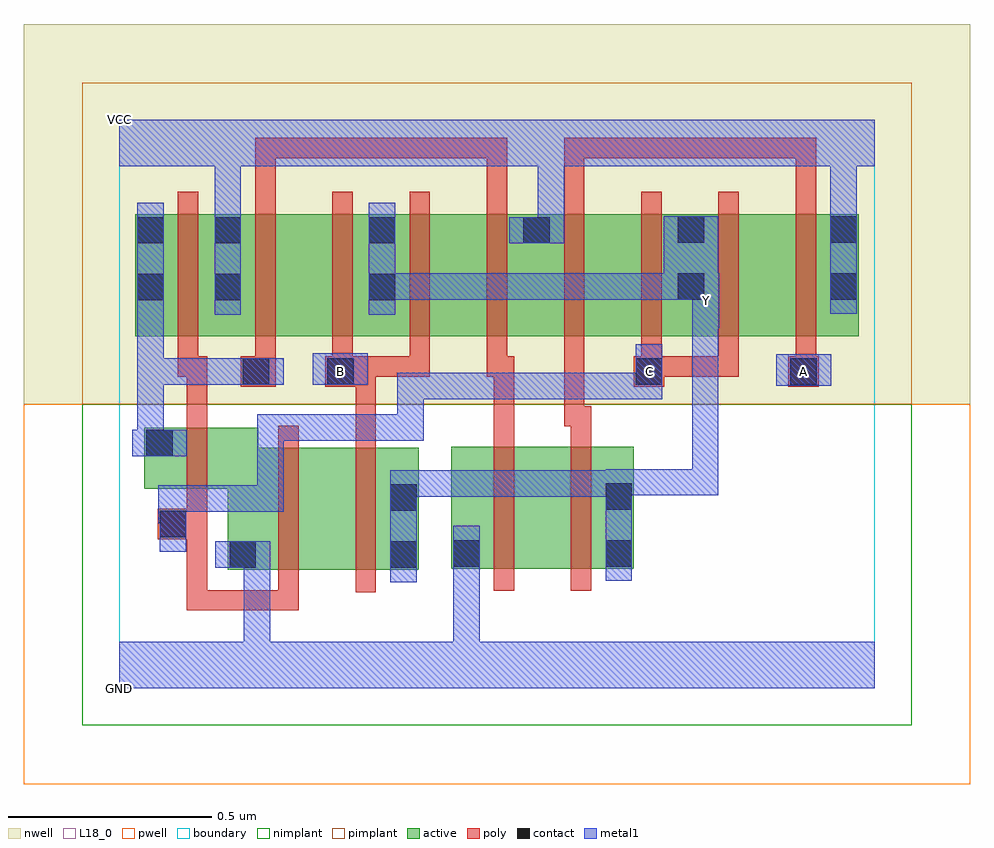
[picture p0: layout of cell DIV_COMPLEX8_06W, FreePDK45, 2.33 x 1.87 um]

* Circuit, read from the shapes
.subckt DIV_COMPLEX8_06W A B C GND VCC Y
M1 GND C n1 VSUBS nfet w=0.15u l=0.05u
M2 n2 C GND VSUBS nfet w=0.3u l=0.05u
M3 Y B n2 VSUBS nfet w=0.3u l=0.05u
M4 n3 n1 GND VSUBS nfet w=0.3u l=0.05u
M5 Y A n3 VSUBS nfet w=0.3u l=0.05u
M6 VCC C n1 n4 pfet w=0.3u l=0.05u
M7 n5 n1 VCC n4 pfet w=0.3u l=0.05u
M8 Y B n5 n4 pfet w=0.3u l=0.05u
M9 n6 B Y n4 pfet w=0.3u l=0.05u
M10 VCC n1 n6 n4 pfet w=0.3u l=0.05u
M11 n7 A VCC n4 pfet w=0.3u l=0.05u
M12 Y C n7 n4 pfet w=0.3u l=0.05u
M13 n8 C Y n4 pfet w=0.3u l=0.05u
M14 VCC A n8 n4 pfet w=0.3u l=0.05u
.ends

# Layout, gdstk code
import gdstk
lib = gdstk.Library(unit=1e-6, precision=1e-09)
def R(c, l, rs):  # rectangles x0, y0, x1, y1
    for r in rs: c.add(gdstk.rectangle(r[:2], r[2:], *l))
def A(c, l, x, y, w, h, nx, ny, dx, dy):  # array of equal rectangles
    R(c, l, [(x+i*dx, y+j*dy, x+i*dx+w, y+j*dy+h) for i in range(nx) for j in range(ny)])
active = (1, 0)
pwell = (2, 0)
nwell = (3, 0)
nimplant = (4, 0)
pimplant = (5, 0)
poly = (9, 0)
contact = (10, 0)
metal1 = (11, 0)
L18_0 = (18, 0)
boundary = (235, 0)

div_complex8_06w = lib.new_cell('DIV_COMPLEX8_06W')
A(div_complex8_06w, active, 0.23, 0.867, 0.075, 0.3, 4, 1, 0.38, 0)
A(div_complex8_06w, active, 0.23, 0.867, 0.225, 0.3, 4, 1, 0.38, 0)
A(div_complex8_06w, active, 0.455, 0.867, 0.23, 0.3, 3, 1, 0.38, 0)
R(div_complex8_06w, active, [(0.267,0.292,0.512,0.592), (0.267,0.292,0.342,0.55), (0.512,0.292,0.737,0.592), (0.662,0.292,0.737,0.592), (0.817,0.295,0.892,0.595), (0.817,0.295,1.042,0.595), (1.042,0.295,1.267,0.595), (1.192,0.295,1.267,0.595), (0.062,0.492,0.342,0.642), (0.062,0.495,0.137,0.642), (0.04,0.867,0.305,1.167), (0.04,0.867,0.115,1.165), (1.595,0.867,1.82,1.167), (1.745,0.867,1.82,1.167)])
R(div_complex8_06w, pwell, [(-0.235,-0.235,2.095,0.7)])
R(div_complex8_06w, nwell, [(-0.235,0.7,2.095,1.635)])
R(div_complex8_06w, nimplant, [(-0.09,-0.09,1.95,0.7)])
R(div_complex8_06w, pimplant, [(-0.09,0.7,1.95,1.49)])
A(div_complex8_06w, poly, 0.145, 0.767, 0.05, 0.095, 5, 1, 0.19, 0)
A(div_complex8_06w, poly, 1.285, 0.767, 0.05, 0.095, 3, 1, 0.19, 0)
A(div_complex8_06w, poly, 0.145, 0.812, 0.05, 0.41, 9, 1, 0.19, 0)
A(div_complex8_06w, poly, 0.715, 1.305, 0.05, 0.05, 3, 1, 0.19, 0)
R(div_complex8_06w, poly, [(0.167,0.192,0.217,0.242), (0.167,0.192,0.217,0.242), (0.167,0.192,0.217,0.242), (0.167,0.192,0.442,0.242), (0.167,0.192,0.217,0.417), (0.392,0.192,0.442,0.242), (0.392,0.192,0.442,0.287), (0.392,0.237,0.442,0.647), (0.582,0.237,0.632,0.647), (0.922,0.24,0.972,0.65), (1.112,0.24,1.162,0.65), (0.095,0.367,0.217,0.442), (0.167,0.392,0.217,0.487), (0.167,0.437,0.217,0.697), (0.582,0.597,0.632,0.792), (0.922,0.6,0.972,0.817), (1.112,0.6,1.162,0.695), (1.095,0.645,1.145,0.862), (1.095,0.645,1.162,0.695), (0.167,0.647,0.217,0.817), (0.3,0.742,0.385,0.817), (0.507,0.742,0.632,0.817), (1.267,0.742,1.342,0.817), (1.647,0.742,1.722,0.817), (0.145,0.767,0.217,0.817), (0.582,0.767,0.632,0.817), (0.582,0.767,0.632,0.817), (0.582,0.767,0.765,0.817), (0.715,0.767,0.765,0.817), (0.905,0.767,0.972,0.817), (1.292,0.767,1.525,0.817), (1.475,0.767,1.525,0.817), (1.475,0.767,1.525,0.817), (1.475,0.767,1.525,0.817), (0.335,1.172,0.385,1.355), (0.905,1.172,0.955,1.355), (1.095,1.172,1.145,1.355), (1.665,1.172,1.715,1.355), (0.335,1.305,0.385,1.355), (0.335,1.305,0.385,1.355), (0.335,1.305,0.385,1.355), (0.335,1.305,0.632,1.355), (0.582,1.305,0.632,1.355), (0.582,1.305,0.632,1.355), (0.582,1.305,0.632,1.355), (0.582,1.305,0.765,1.355), (0.715,1.305,0.765,1.355), (0.715,1.305,0.765,1.355), (0.715,1.305,0.955,1.355), (1.095,1.305,1.145,1.355), (1.095,1.305,1.145,1.355), (1.095,1.305,1.277,1.355), (1.227,1.305,1.277,1.355), (1.227,1.305,1.475,1.355), (1.425,1.305,1.475,1.355), (1.425,1.305,1.475,1.355), (1.425,1.305,1.475,1.355), (1.425,1.305,1.715,1.355), (1.665,1.305,1.715,1.355), (1.665,1.305,1.715,1.355), (1.665,1.305,1.715,1.355)])
A(div_complex8_06w, contact, 0.235, 1.095, 0.065, 0.065, 3, 1, 0.38, 0)
R(div_complex8_06w, contact, [(0.272,0.297,0.337,0.362), (0.667,0.297,0.732,0.362), (0.822,0.3,0.887,0.365), (1.197,0.3,1.262,0.365), (0.1,0.372,0.165,0.437), (0.667,0.437,0.732,0.502), (1.197,0.44,1.262,0.505), (0.067,0.572,0.132,0.637), (0.305,0.747,0.37,0.812), (0.512,0.747,0.577,0.812), (1.272,0.747,1.337,0.812), (1.652,0.747,1.717,0.812), (0.045,0.955,0.11,1.02), (0.235,0.955,0.3,1.02), (0.615,0.955,0.68,1.02), (1.375,0.957,1.44,1.022), (1.75,0.957,1.815,1.022), (0.045,1.095,0.11,1.16), (1.375,1.097,1.44,1.162), (1.75,1.097,1.815,1.162)])
R(div_complex8_06w, metal1, [(0,0,1.86,0.115), (0.307,0.05,0.372,0.115), (0.307,0.05,0.372,0.115), (0.307,0.05,0.372,0.362), (0.822,0.05,0.887,0.115), (0.822,0.05,0.887,0.115), (0.822,0.05,0.887,0.115), (0.822,0.05,0.887,0.115), (0.822,0.05,0.887,0.33), (0.667,0.262,0.732,0.537), (0.822,0.265,0.887,0.4), (1.197,0.265,1.262,0.54), (0.237,0.297,0.372,0.362), (0.307,0.297,0.372,0.362), (0.307,0.297,0.372,0.362), (0.1,0.337,0.165,0.472), (0.097,0.407,0.162,0.472), (0.097,0.407,0.165,0.472), (0.097,0.407,0.162,0.5), (0.097,0.435,0.162,0.5), (0.097,0.435,0.162,0.5), (0.097,0.435,0.162,0.5), (0.097,0.435,0.405,0.5), (0.34,0.435,0.405,0.5), (0.34,0.435,0.405,0.675), (0.667,0.472,0.887,0.537), (0.822,0.472,0.887,0.537), (0.822,0.472,0.887,0.537), (0.822,0.472,0.887,0.537), (0.822,0.472,0.887,0.537), (0.822,0.472,0.887,0.537), (0.822,0.472,1.025,0.537), (0.96,0.472,1.025,0.537), (0.96,0.472,1.125,0.537), (1.06,0.472,1.125,0.537), (1.06,0.472,1.2,0.537), (1.135,0.472,1.2,0.537), (1.135,0.472,1.262,0.537), (1.197,0.475,1.475,0.54), (1.41,0.475,1.475,0.54), (1.41,0.475,1.475,0.54), (1.41,0.475,1.475,0.54), (1.41,0.475,1.475,0.952), (0.032,0.572,0.167,0.637), (0.045,0.572,0.11,0.812), (0.34,0.61,0.405,0.675), (0.34,0.61,0.405,0.675), (0.34,0.61,0.405,0.675), (0.34,0.61,0.542,0.675), (0.477,0.61,0.542,0.675), (0.477,0.61,0.542,0.675), (0.477,0.61,0.542,0.675), (0.477,0.61,0.75,0.675), (0.685,0.61,0.75,0.675), (0.685,0.61,0.75,0.777), (0.685,0.712,0.75,0.777), (0.685,0.712,0.75,0.777), (0.685,0.712,0.75,0.777), (0.685,0.712,0.887,0.777), (0.822,0.712,0.887,0.777), (0.822,0.712,1.062,0.777), (0.997,0.712,1.062,0.777), (0.997,0.712,1.062,0.777), (0.997,0.712,1.062,0.777), (0.997,0.712,1.2,0.777), (1.135,0.712,1.2,0.777), (1.135,0.712,1.262,0.777), (1.197,0.712,1.262,0.777), (1.197,0.712,1.337,0.777), (1.272,0.712,1.337,0.847), (1.617,0.745,1.752,0.822), (0.045,0.747,0.11,0.812), (0.045,0.747,0.11,0.812), (0.045,0.747,0.11,0.812), (0.045,0.747,0.335,0.812), (0.045,0.747,0.11,0.985), (0.27,0.747,0.335,0.812), (0.27,0.747,0.335,0.812), (0.27,0.747,0.405,0.812), (0.477,0.747,0.612,0.825), (1.41,0.887,1.477,1.022), (0.045,0.92,0.11,1.195), (0.235,0.92,0.3,1.195), (0.615,0.92,0.68,1.195), (1.75,0.922,1.815,1.197), (0.615,0.957,0.887,1.022), (0.822,0.957,0.887,1.022), (0.822,0.957,0.887,1.022), (0.822,0.957,0.887,1.022), (0.822,0.957,1.025,1.022), (0.96,0.957,1.025,1.022), (0.96,0.957,1.025,1.022), (0.96,0.957,1.025,1.022), (0.96,0.957,1.2,1.022), (1.135,0.957,1.2,1.022), (1.135,0.957,1.262,1.022), (1.197,0.957,1.262,1.022), (1.197,0.957,1.405,1.022), (1.34,0.957,1.405,1.022), (1.34,0.957,1.405,1.022), (1.34,0.957,1.475,1.162), (1.41,0.957,1.475,1.022), (0.96,1.095,1.095,1.16), (1.03,1.095,1.095,1.16), (1.03,1.095,1.095,1.16), (1.03,1.095,1.095,1.35), (0.235,1.13,0.3,1.195), (0.235,1.13,0.3,1.195), (0.235,1.13,0.3,1.35), (1.75,1.132,1.815,1.197), (1.75,1.132,1.815,1.197), (1.75,1.132,1.815,1.35), (0,1.285,1.86,1.4)])
R(div_complex8_06w, L18_0, [(0,0,1.86,0.115), (0.307,0.05,0.372,0.115), (0.307,0.05,0.372,0.115), (0.307,0.05,0.372,0.362), (0.822,0.05,0.887,0.115), (0.822,0.05,0.887,0.115), (0.822,0.05,0.887,0.115), (0.822,0.05,0.887,0.115), (0.822,0.05,0.887,0.33), (0.667,0.262,0.732,0.537), (0.822,0.265,0.887,0.4), (1.197,0.265,1.262,0.54), (0.237,0.297,0.372,0.362), (0.307,0.297,0.372,0.362), (0.307,0.297,0.372,0.362), (0.1,0.337,0.165,0.472), (0.097,0.407,0.162,0.472), (0.097,0.407,0.162,0.5), (0.097,0.407,0.165,0.472), (0.097,0.435,0.162,0.5), (0.097,0.435,0.162,0.5), (0.097,0.435,0.162,0.5), (0.097,0.435,0.405,0.5), (0.34,0.435,0.405,0.5), (0.34,0.435,0.405,0.675), (0.667,0.472,0.887,0.537), (0.822,0.472,0.887,0.537), (0.822,0.472,0.887,0.537), (0.822,0.472,0.887,0.537), (0.822,0.472,0.887,0.537), (0.822,0.472,0.887,0.537), (0.822,0.472,1.025,0.537), (0.96,0.472,1.025,0.537), (0.96,0.472,1.125,0.537), (1.06,0.472,1.125,0.537), (1.06,0.472,1.2,0.537), (1.135,0.472,1.2,0.537), (1.135,0.472,1.262,0.537), (1.197,0.475,1.475,0.54), (1.41,0.475,1.475,0.54), (1.41,0.475,1.475,0.54), (1.41,0.475,1.475,0.54), (1.41,0.475,1.475,0.952), (0.34,0.61,0.405,0.675), (0.34,0.61,0.405,0.675), (0.34,0.61,0.405,0.675), (0.34,0.61,0.542,0.675), (0.477,0.61,0.542,0.675), (0.477,0.61,0.542,0.675), (0.477,0.61,0.542,0.675), (0.477,0.61,0.75,0.675), (0.685,0.61,0.75,0.675), (0.685,0.61,0.75,0.777), (0.685,0.712,0.75,0.777), (0.685,0.712,0.75,0.777), (0.685,0.712,0.75,0.777), (0.685,0.712,0.887,0.777), (0.822,0.712,0.887,0.777), (0.822,0.712,1.062,0.777), (0.997,0.712,1.062,0.777), (0.997,0.712,1.062,0.777), (0.997,0.712,1.062,0.777), (0.997,0.712,1.2,0.777), (1.135,0.712,1.2,0.777), (1.135,0.712,1.262,0.777), (1.197,0.712,1.262,0.777), (1.197,0.712,1.337,0.777), (1.272,0.712,1.337,0.847), (1.617,0.745,1.752,0.822), (0.477,0.747,0.612,0.825), (0.512,0.747,0.577,0.812), (1.272,0.747,1.337,0.812), (1.652,0.747,1.717,0.812), (1.41,0.887,1.477,1.022), (0.235,0.92,0.3,1.195), (0.615,0.92,0.68,1.195), (1.412,0.922,1.477,0.987), (1.75,0.922,1.815,1.197), (0.615,0.957,0.887,1.022), (0.822,0.957,0.887,1.022), (0.822,0.957,0.887,1.022), (0.822,0.957,0.887,1.022), (0.822,0.957,1.025,1.022), (0.96,0.957,1.025,1.022), (0.96,0.957,1.025,1.022), (0.96,0.957,1.025,1.022), (0.96,0.957,1.2,1.022), (1.135,0.957,1.2,1.022), (1.135,0.957,1.262,1.022), (1.197,0.957,1.262,1.022), (1.197,0.957,1.405,1.022), (1.34,0.957,1.405,1.022), (1.34,0.957,1.405,1.022), (1.34,0.957,1.475,1.162), (1.41,0.957,1.475,1.022), (0.96,1.095,1.095,1.16), (1.03,1.095,1.095,1.16), (1.03,1.095,1.095,1.16), (1.03,1.095,1.095,1.35), (0.235,1.13,0.3,1.195), (0.235,1.13,0.3,1.195), (0.235,1.13,0.3,1.35), (1.75,1.132,1.815,1.197), (1.75,1.132,1.815,1.197), (1.75,1.132,1.815,1.35), (0,1.285,1.86,1.4)])
R(div_complex8_06w, boundary, [(0,0,1.86,1.4)])
div_complex8_06w.add(gdstk.Label('A', (1.685,0.78), layer=11, texttype=0))
div_complex8_06w.add(gdstk.Label('B', (0.545,0.78), layer=11, texttype=0))
div_complex8_06w.add(gdstk.Label('C', (1.305,0.78), layer=11, texttype=0))
div_complex8_06w.add(gdstk.Label('Y', (1.445,0.955), layer=11, texttype=0))
div_complex8_06w.add(gdstk.Label('VCC', (0,1.4), layer=11, texttype=0))
div_complex8_06w.add(gdstk.Label('GND', (0,0), layer=11, texttype=0))

lib.write_gds('DIV_COMPLEX8_06W.gds')
